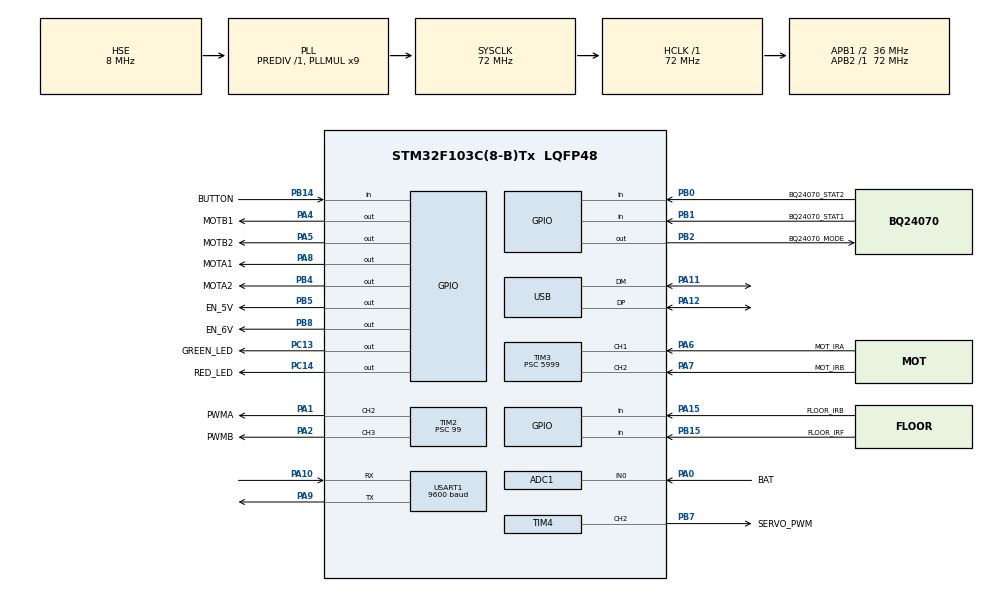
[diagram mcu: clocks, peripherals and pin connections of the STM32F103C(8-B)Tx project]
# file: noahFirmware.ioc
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Mcu.Family=STM32F1
NVIC.ADC1_2_IRQn=true\:5\:0\:false\:false\:true\:true\:true\:true
USB_DEVICE.CLASS_NAME_FS=CDC
NVIC.DMA1_Channel5_IRQn=true\:5\:0\:false\:false\:true\:true\:false\:true
ADC1.ContinuousConvMode=DISABLE
USART1.BaudRate=9600
PB14.GPIO_Label=BUTTON
PA11.Mode=Device
PA6.GPIO_Label=MOT_IRA
PB0.GPIO_Label=BQ24070_STAT2
NVIC.TIM1_UP_IRQn=true\:0\:0\:false\:false\:true\:false\:false\:true
TIM2.Channel-PWM\ Generation2\ CH2=TIM_CHANNEL_2
USB.lpm_enable=DISABLE
PB15.Signal=GPIO_Input
RCC.SYSCLKSource=RCC_SYSCLKSOURCE_PLLCLK
ProjectManager.StackSize=0x400
PD1-OSC_OUT.Signal=RCC_OSC_OUT
VP_TIM2_VS_ClockSourceITR.Mode=TriggerSource_ITR0
USB_DEVICE.MANUFACTURER_STRING=Noone
PA15.GPIO_Label=FLOOR_IRB
PA12.Signal=USB_DP
PB1.GPIO_PuPd=GPIO_PULLUP
RCC.HCLKFreq_Value=72000000
RCC.APB2TimFreq_Value=72000000
TIM3.Period=11999
PB5.PinState=GPIO_PIN_SET
RCC.AHBFreq_Value=72000000
Dma.USART1_RX.0.Priority=DMA_PRIORITY_LOW
TIM3.ClockDivision=TIM_CLOCKDIVISION_DIV1
TIM3.Channel-Input_Capture1_from_TI1=TIM_CHANNEL_1
PB2.Signal=GPIO_Output
RCC.PLLMUL=RCC_PLL_MUL9
PA14.Mode=Serial_Wire
VP_SYS_VS_tim1.Mode=TIM1
TIM3.Prescaler=5999
PB1.GPIO_Label=BQ24070_STAT1
NVIC.TIM2_IRQn=true\:5\:0\:false\:false\:true\:true\:true\:true
PB8.PinState=GPIO_PIN_SET
SH.S_TIM4_CH2.0=TIM4_CH2,PWM Generation2 CH2
PB7.Signal=S_TIM4_CH2
PA8.Signal=GPIO_Output
SH.ADCx_IN0.0=ADC1_IN0,IN0
SH.S_TIM3_CH1.0=TIM3_CH1,Input_Capture1_from_TI1
TIM4.Period=8000
VP_FREERTOS_VS_CMSIS_V1.Mode=CMSIS_V1
Dma.USART1_RX.0.MemInc=DMA_MINC_ENABLE
FREERTOS.configTOTAL_HEAP_SIZE=10240
PB7.GPIO_Label=SERVO_PWM
Mcu.Package=LQFP48
TIM2.Prescaler=99
PB14.GPIO_PuPd=GPIO_PULLDOWN
PB1.Signal=GPIO_Input
PA6.Signal=S_TIM3_CH1
NVIC.TimeBase=TIM1_UP_IRQn
PA2.GPIO_Label=PWMB
NVIC.TimeBaseIP=TIM1
PA10.Signal=USART1_RX
PA15.Signal=GPIO_Input
PB5.GPIO_Label=EN_5V
RCC.APB1TimFreq_Value=72000000
Dma.USART1_RX.0.Mode=DMA_CIRCULAR
PC14-OSC32_IN.GPIO_Label=RED_LED
Dma.Request0=USART1_RX
PA4.GPIO_Label=MOTB1
Dma.USART1_RX.0.Instance=DMA1_Channel5
VP_TIM3_VS_ClockSourceINT.Mode=Internal
PB4.Signal=GPIO_Output
RCC.PLLSourceVirtual=RCC_PLLSOURCE_HSE
TIM4.AutoReloadPreload=TIM_AUTORELOAD_PRELOAD_ENABLE
FREERTOS.Tasks01=StartTask,0,128,start_tsk,Default,NULL,Dynamic,NULL,NULL;PowerManagement,-1,400,PowerMgmt_tsk,Default,NULL,Dynamic,NULL,NULL;Button,0,256,Button_tsk,Default,NULL,Dynamic,NULL,NULL;Battery,-2,128,Battery_tsk,Default,NULL,Dynamic,NULL,NULL;MotionControl,0,256,Motion_tsk,Default,NULL,Dynamic,NULL,NULL;UARTComms,0,512,Uart_tsk,Default,NULL,Dynamic,NULL,NULL;IRFloor,0,128,Ir_floor_tsk,Default,NULL,Dynamic,NULL,NULL;MotionIR,0,256,MotionIR_tsk,Default,NULL,Dynamic,NULL,NULL
PD1-OSC_OUT.Mode=HSE-External-Oscillator
Dma.USART1_RX.0.PeriphDataAlignment=DMA_PDATAALIGN_BYTE
TIM3.Channel-Input_Capture2_from_TI2=TIM_CHANNEL_2
PA10.Mode=Asynchronous
TIM3.AutoReloadPreload=TIM_AUTORELOAD_PRELOAD_ENABLE
USB_DEVICE.VirtualModeFS=Cdc_FS
PB8.GPIO_PuPd=GPIO_PULLDOWN
PC13-TAMPER-RTC.Signal=GPIO_Output
RCC.USBPrescaler=RCC_USBCLKSOURCE_PLL_DIV1_5
PD0-OSC_IN.Signal=RCC_OSC_IN
RCC.APB1CLKDivider=RCC_HCLK_DIV2
PC14-OSC32_IN.Signal=GPIO_Output
PA0-WKUP.GPIO_Label=BAT
PA0-WKUP.Signal=ADCx_IN0
RCC.ADCPresc=RCC_ADCPCLK2_DIV6
PA13.Signal=SYS_JTMS-SWDIO
PB8.GPIO_Label=EN_6V
SH.S_TIM2_CH2.0=TIM2_CH2,PWM Generation2 CH2
PA9.Mode=Asynchronous
PA8.GPIO_Label=MOTA1
ProjectManager.TargetToolchain=Makefile
USB_DEVICE.PRODUCT_STRING_CDC_FS=Noah robot
Dma.USART1_RX.0.Direction=DMA_PERIPH_TO_MEMORY
VP_USB_DEVICE_VS_USB_DEVICE_CDC_FS.Mode=CDC_FS
PA9.Signal=USART1_TX
RCC.USBFreq_Value=48000000
TIM2.OCFastMode_PWM-PWM\ Generation3\ CH3=TIM_OCFAST_ENABLE
TIM4.Prescaler=999
PA1.Signal=S_TIM2_CH2
Dma.USART1_RX.0.PeriphInc=DMA_PINC_DISABLE
PD0-OSC_IN.Mode=HSE-External-Oscillator
PB14.Signal=GPIO_Input
PA5.Signal=GPIO_Output
SH.S_TIM3_CH2.0=TIM3_CH2,Input_Capture2_from_TI2
board=custom
PC13-TAMPER-RTC.GPIO_Label=GREEN_LED
USB.low_power_enable=DISABLE
NVIC.TIM3_IRQn=true\:5\:0\:false\:false\:true\:true\:true\:true
TIM4.Channel-PWM\ Generation2\ CH2=TIM_CHANNEL_2
RCC.APB2Freq_Value=72000000
PB4.GPIO_Label=MOTA2
TIM4.ClockDivision=TIM_CLOCKDIVISION_DIV4
PB15.GPIO_Label=FLOOR_IRF
VP_TIM2_VS_ClockSourceINT.Mode=Internal
SH.S_TIM2_CH3.0=TIM2_CH3,PWM Generation3 CH3
NVIC.USB_LP_CAN1_RX0_IRQn=true\:5\:0\:false\:false\:true\:true\:false\:true
PA1.GPIO_Label=PWMA
TIM2.Channel-PWM\ Generation3\ CH3=TIM_CHANNEL_3
TIM3.ICPolarity_CH1=TIM_INPUTCHANNELPOLARITY_FALLING
Dma.USART1_RX.0.MemDataAlignment=DMA_MDATAALIGN_BYTE
TIM2.Period=71
PA13.Mode=Serial_Wire
Mcu.Name=STM32F103C(8-B)Tx
PA2.Signal=S_TIM2_CH3
PA4.Signal=GPIO_Output
RCC.SYSCLKFreq_VALUE=72000000
PB5.Signal=GPIO_Output
PA7.GPIO_Label=MOT_IRB
ADC1.master=1
PA12.Mode=Device
PA5.GPIO_Label=MOTB2
PB5.GPIO_PuPd=GPIO_PULLDOWN
USART1.VirtualMode=VM_ASYNC
PA11.Signal=USB_DM
PA14.Signal=SYS_JTCK-SWCLK
PB2.GPIO_Label=BQ24070_MODE
ProjectManager.HeapSize=0x200
VP_TIM4_VS_ClockSourceINT.Mode=Internal
FREERTOS.Mutexes01=led_mutex,Dynamic,NULL
NVIC.PriorityGroup=NVIC_PRIORITYGROUP_4
ADC1.EnableRegularConversion=DISABLE
PB8.Signal=GPIO_Output
TIM2.OCFastMode_PWM-PWM\ Generation2\ CH2=TIM_OCFAST_ENABLE
TIM2.AutoReloadPreload=TIM_AUTORELOAD_PRELOAD_ENABLE
RCC.APB1Freq_Value=36000000
PB0.Signal=GPIO_Input
USB_DEVICE.VirtualMode=Cdc
PB0.GPIO_PuPd=GPIO_PULLUP
PA7.Signal=S_TIM3_CH2

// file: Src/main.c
/* USER CODE BEGIN Header */
/**
  ******************************************************************************
  * @file           : main.c
  * @brief          : Main program body
  ******************************************************************************
  * @attention
  *
  * <h2><center>&copy; Copyright (c) 2020 STMicroelectronics.
  * All rights reserved.</center></h2>
  *
  * This software component is licensed by ST under Ultimate Liberty license
  * SLA0044, the "License"; You may not use this file except in compliance with
  * the License. You may obtain a copy of the License at:
  *                             www.st.com/SLA0044
  *
  ******************************************************************************
  */
/* USER CODE END Header */

#include "main.h"
#include "cmsis_os.h"
#include "adc.h"
#include "dma.h"
#include "tim.h"
#include "usart.h"
#include "usb_device.h"
#include "gpio.h"

/* USER CODE BEGIN Includes */
#include "IRMotion.h"
/* USER CODE END Includes */

void SystemClock_Config(void);
void MX_FREERTOS_Init(void);

int main(void)
{

  /* MCU Configuration--------------------------------------------------------*/

  /* Reset of all peripherals, Initializes the Flash interface and the Systick. */
  HAL_Init();

  /* Configure the system clock */
  SystemClock_Config();

  /* Initialize all configured peripherals */
  MX_GPIO_Init();
  MX_ADC1_Init();
  MX_TIM2_Init();
  MX_TIM3_Init();
  MX_DMA_Init();
  MX_USART1_UART_Init();
  MX_TIM4_Init();

  /* Call init function for freertos objects (in freertos.c) */
  MX_FREERTOS_Init();
  /* Start scheduler */
  osKernelStart();

  /* We should never get here as control is now taken by the scheduler */
  /* Infinite loop */
  while (1)
  {

  }
}

void SystemClock_Config(void)
{
  RCC_OscInitTypeDef RCC_OscInitStruct = {0};
  RCC_ClkInitTypeDef RCC_ClkInitStruct = {0};
  RCC_PeriphCLKInitTypeDef PeriphClkInit = {0};

  /** Initializes the CPU, AHB and APB busses clocks
  */
  RCC_OscInitStruct.OscillatorType = RCC_OSCILLATORTYPE_HSE;
  RCC_OscInitStruct.HSEState = RCC_HSE_ON;
  RCC_OscInitStruct.HSEPredivValue = RCC_HSE_PREDIV_DIV1;
  RCC_OscInitStruct.HSIState = RCC_HSI_ON;
  RCC_OscInitStruct.PLL.PLLState = RCC_PLL_ON;
  RCC_OscInitStruct.PLL.PLLSource = RCC_PLLSOURCE_HSE;
  RCC_OscInitStruct.PLL.PLLMUL = RCC_PLL_MUL9;
  if (HAL_RCC_OscConfig(&RCC_OscInitStruct) != HAL_OK)
  {
    Error_Handler();
  }
  /** Initializes the CPU, AHB and APB busses clocks
  */
  RCC_ClkInitStruct.ClockType = RCC_CLOCKTYPE_HCLK|RCC_CLOCKTYPE_SYSCLK
                              |RCC_CLOCKTYPE_PCLK1|RCC_CLOCKTYPE_PCLK2;
  RCC_ClkInitStruct.SYSCLKSource = RCC_SYSCLKSOURCE_PLLCLK;
  RCC_ClkInitStruct.AHBCLKDivider = RCC_SYSCLK_DIV1;
  RCC_ClkInitStruct.APB1CLKDivider = RCC_HCLK_DIV2;
  RCC_ClkInitStruct.APB2CLKDivider = RCC_HCLK_DIV1;

  if (HAL_RCC_ClockConfig(&RCC_ClkInitStruct, FLASH_LATENCY_2) != HAL_OK)
  {
    Error_Handler();
  }
  PeriphClkInit.PeriphClockSelection = RCC_PERIPHCLK_ADC|RCC_PERIPHCLK_USB;
  PeriphClkInit.AdcClockSelection = RCC_ADCPCLK2_DIV6;
  PeriphClkInit.UsbClockSelection = RCC_USBCLKSOURCE_PLL_DIV1_5;
  if (HAL_RCCEx_PeriphCLKConfig(&PeriphClkInit) != HAL_OK)
  {
    Error_Handler();
  }
}

 /**
  * @brief  Period elapsed callback in non blocking mode
  * @note   This function is called  when TIM1 interrupt took place, inside
  * HAL_TIM_IRQHandler(). It makes a direct call to HAL_IncTick() to increment
  * a global variable "uwTick" used as application time base.
  * @param  htim : TIM handle
  * @retval None
  */
void HAL_TIM_PeriodElapsedCallback(TIM_HandleTypeDef *htim)
{
  if (htim->Instance == TIM1) {
    HAL_IncTick();
  }
}

void Error_Handler(void)
{
}

/************************ (C) COPYRIGHT STMicroelectronics *****END OF FILE****/

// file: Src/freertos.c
/* USER CODE BEGIN Header */
/**
 ******************************************************************************
 * File Name          : freertos.c
 * Description        : Code for freertos applications
 ******************************************************************************
 * @attention
 *
 * <h2><center>&copy; Copyright (c) 2019 STMicroelectronics.
 * All rights reserved.</center></h2>
 *
 * This software component is licensed by ST under Ultimate Liberty license
 * SLA0044, the "License"; You may not use this file except in compliance with
 * the License. You may obtain a copy of the License at:
 *                             www.st.com/SLA0044
 *
 ******************************************************************************
 */
/* USER CODE END Header */

#include "FreeRTOS.h"
#include "task.h"
#include "main.h"
#include "cmsis_os.h"

/* USER CODE BEGIN Includes */

// Standard libraries
#include "math.h"
#include "stdbool.h"

// CMSIS Libraries
#include "usart.h"
// Noone libraries
#include "Battery.h"
#include "Button.h"
#include "Config.h"
#include "IRFloor.h"
#include "IRMotion.h"
#include "Motor.h"
#include "PowerManagement.h"
#include "Servo.h"
#include "UsartCommunication.h"

/* USER CODE END Includes */

/* USER CODE BEGIN Variables */
float      motorKP, motorKI, motorKD;
float      targetSpeedL = 0.0, targetSpeedR;
float      currentSpeedL = 0.0, currentSpeedR = 0.0;
float      integrationSumL = 0.0, integrationSumR = 0.0;
float      previousErrorL = 0.0, previousErrorR = 0.0;
float      current_error_l;
float      derivative;
int16_t    duty_l, duty_r;
osThreadId thread_id;
/* USER CODE END Variables */
osThreadId StartTaskHandle;
osThreadId PowerManagementHandle;
osThreadId ButtonHandle;
osThreadId BatteryHandle;
osThreadId MotionControlHandle;
osThreadId UARTCommsHandle;
osThreadId IRFloorHandle;
osThreadId MotionIRHandle;
osMutexId led_mutexHandle;

void start_tsk(void const * argument);
void PowerMgmt_tsk(void const * argument);
void Button_tsk(void const * argument);
void Battery_tsk(void const * argument);
void Motion_tsk(void const * argument);
void Uart_tsk(void const * argument);
void Ir_floor_tsk(void const * argument);
void MotionIR_tsk(void const * argument);

extern void MX_USB_DEVICE_Init(void);
void MX_FREERTOS_Init(void); /* (MISRA C 2004 rule 8.1) */

/* GetIdleTaskMemory prototype (linked to static allocation support) */
void vApplicationGetIdleTaskMemory( StaticTask_t **ppxIdleTaskTCBBuffer, StackType_t **ppxIdleTaskStackBuffer, uint32_t *pulIdleTaskStackSize );

/* USER CODE BEGIN GET_IDLE_TASK_MEMORY */
static StaticTask_t xIdleTaskTCBBuffer;
static StackType_t  xIdleStack[configMINIMAL_STACK_SIZE];

void vApplicationGetIdleTaskMemory(StaticTask_t **ppxIdleTaskTCBBuffer, StackType_t **ppxIdleTaskStackBuffer,
                                   uint32_t *pulIdleTaskStackSize) {
    *ppxIdleTaskTCBBuffer = &xIdleTaskTCBBuffer;
    *ppxIdleTaskStackBuffer = &xIdleStack[0];
    *pulIdleTaskStackSize = configMINIMAL_STACK_SIZE;
    /* place for user code */
}
/* USER CODE END GET_IDLE_TASK_MEMORY */

void MX_FREERTOS_Init(void) {
  /* Create the mutex(es) */
  /* definition and creation of led_mutex */
  osMutexDef(led_mutex);
  led_mutexHandle = osMutexCreate(osMutex(led_mutex));

  /* Create the thread(s) */
  /* definition and creation of StartTask */
  osThreadDef(StartTask, start_tsk, osPriorityNormal, 0, 128);
  StartTaskHandle = osThreadCreate(osThread(StartTask), NULL);

  /* definition and creation of PowerManagement */
  osThreadDef(PowerManagement, PowerMgmt_tsk, osPriorityBelowNormal, 0, 400);
  PowerManagementHandle = osThreadCreate(osThread(PowerManagement), NULL);

  /* definition and creation of Button */
  osThreadDef(Button, Button_tsk, osPriorityNormal, 0, 256);
  ButtonHandle = osThreadCreate(osThread(Button), NULL);

  /* definition and creation of Battery */
  osThreadDef(Battery, Battery_tsk, osPriorityLow, 0, 128);
  BatteryHandle = osThreadCreate(osThread(Battery), NULL);

  /* definition and creation of MotionControl */
  osThreadDef(MotionControl, Motion_tsk, osPriorityNormal, 0, 256);
  MotionControlHandle = osThreadCreate(osThread(MotionControl), NULL);

  /* definition and creation of UARTComms */
  osThreadDef(UARTComms, Uart_tsk, osPriorityNormal, 0, 512);
  UARTCommsHandle = osThreadCreate(osThread(UARTComms), NULL);

  /* definition and creation of IRFloor */
  osThreadDef(IRFloor, Ir_floor_tsk, osPriorityNormal, 0, 128);
  IRFloorHandle = osThreadCreate(osThread(IRFloor), NULL);

  /* definition and creation of MotionIR */
  osThreadDef(MotionIR, MotionIR_tsk, osPriorityNormal, 0, 256);
  MotionIRHandle = osThreadCreate(osThread(MotionIR), NULL);

}

void start_tsk(void const * argument)
{
  /* init code for USB_DEVICE */
  MX_USB_DEVICE_Init();
    for (;;) {
        osDelay(1);
    }
}

void PowerMgmt_tsk(void const * argument)
{
  /* USER CODE BEGIN PowerMgmt_tsk */
    // bool pwrChanged = false;
    // pwr_init();
    osSignalSet(UARTCommsHandle, POWER_MGMT_SIGNAL_READY);
    /* Infinite loop */
    for (;;) {
        // If changes were alerted before but still were not be able to show that with the leds,
        // Check if there is a power update but do not change the flag.
        // if (pwrChanged) {
        //     pwr_update();
        //     // Try to consume the mutex.
        //     if (osMutexWait(led_mutexHandle, LED_MUTEX_WAIT_TIME_MS) == osOK) {
        //         switch (pwr_get_current_state()) {
        //             case CHARGING_USB:
        //                 HAL_GPIO_WritePin(RED_LED_GPIO_Port, RED_LED_PIN, GPIO_PIN_SET);
        //                 HAL_GPIO_WritePin(GREEN_LED_GPIO_Port, GREEN_LED_PIN, GPIO_PIN_RESET);
        //                 break;
        //             case CHARGING_HIGH_PWR:
        //                 HAL_GPIO_WritePin(RED_LED_GPIO_Port, RED_LED_PIN, GPIO_PIN_SET);
        //                 HAL_GPIO_WritePin(GREEN_LED_GPIO_Port, GREEN_LED_PIN, GPIO_PIN_SET);
        //                 break;
        //             default:
        //                 HAL_GPIO_WritePin(RED_LED_GPIO_Port, RED_LED_PIN, GPIO_PIN_RESET);
        //                 HAL_GPIO_WritePin(GREEN_LED_GPIO_Port, GREEN_LED_PIN, GPIO_PIN_RESET);
        //                 break;
        //         }
        //         // Change the flag, allowing to know that the leds were updated accordingly to the status..
        //         pwrChanged = false;
        //         // Free the mutex.
        //         osMutexRelease(led_mutexHandle);
        //     }
        // } else {
        //     pwrChanged = pwr_update();
        // }
        osDelay(POWER_MGMT_UPDATE_RATE_MS);
    }
  /* USER CODE END PowerMgmt_tsk */
}

void Button_tsk(void const * argument)
{
  /* USER CODE BEGIN Button_tsk */
    osSignalSet(UARTCommsHandle, BUTTON_SIGNAL_READY);
    /* Infinite loop */
    for (;;) {
        // button_update();
        osDelay(BUTTON_UPDATE_RATE_MS);
    }
  /* USER CODE END Button_tsk */
}

void Battery_tsk(void const * argument)
{
  /* USER CODE BEGIN Battery_tsk */
    bat_init();
    osSignalSet(UARTCommsHandle, BATTERY_SIGNAL_READY);
    /* Infinite loop */
    for (;;) {
        bat_update();
        osDelay(BAT_CHECKING_UPDATE_RATE_MS);
    }
  /* USER CODE END Battery_tsk */
}

void Motion_tsk(void const * argument)
{
  /* USER CODE BEGIN Motion_tsk */
    motorKP = KP_VAL;
    motorKI = KI_VAL;
    motorKD = KD_VAL;
    motor_init(&htim2, TIM_CHANNEL_2, TIM_CHANNEL_3);
    osSignalSet(UARTCommsHandle, MOTION_CONTROL_SIGNAL_READY);
    osSignalWait(IR_SENSOR_SIGNAL_READY, osWaitForever);
    /* Infinite loop */
    for (;;) {
        osDelay(PID_UPDATE_RATE_MS);
        // Get the current speed of each motor.
        currentSpeedL = irmotion_get_speed(MOTOR_L);
        currentSpeedR = irmotion_get_speed(MOTOR_R);

        // Implementación PID for motor L.
        current_error_l = targetSpeedL - currentSpeedL;
        // We divide by 1000 to convert miliseconds in seconds.
        integrationSumL += (current_error_l * (PID_UPDATE_RATE_MS / 1000.0));
        derivative = (current_error_l - previousErrorL) / (PID_UPDATE_RATE_MS / 1000.0);
        duty_l = (int16_t)((motorKP * current_error_l) + (motorKI * integrationSumL) + (motorKD * derivative));
        previousErrorL = current_error_l;
        if (targetSpeedL > 0.0) {
            if (duty_l > MAX_DUTY_PWM)
                duty_l = MAX_DUTY_PWM;
            else if (duty_l < 0)
                duty_l = 0;
        } else {
            if (duty_l < (-MAX_DUTY_PWM))
                duty_l = -MAX_DUTY_PWM;
            else if (duty_l > 0)
                duty_l = 0;
        }

        motor_set_duty(MOTOR_L, duty_l);

        // Implementación PID for motor R.
        // float currentError_r = targetSpeedR - currentSpeedR;
        // // We divide by 1000 to convert miliseconds in seconds.
        // integrationSumR += currentError_r * (PID_UPDATE_RATE_MS / 1000.0);
        // duty_r = (int16_t)(motorKP * currentError_r + motorKI * integrationSumR +
        //                 motorKD * (currentError_r - previousErrorR) / (PID_UPDATE_RATE_MS / 1000.0));
        // previousErrorR = currentError_r;
        // if (duty_r > MAX_DUTY_PWM) duty_r = MAX_DUTY_PWM;
        // // duty_l = duty_l * (MAX_DUTY_PWM/32767);
        // if(duty_l > 0){
        //   if (duty_l > MAX_DUTY_PWM) duty_l = MAX_DUTY_PWM;
        // }
        // else{
        //   if (abs(duty_l) > MAX_DUTY_PWM) duty_l = -MAX_DUTY_PWM;
        // }
        // motor_set_duty(MOTOR_R, duty_r);
    }
  /* USER CODE END Motion_tsk */
}

void Uart_tsk(void const * argument)
{
  /* USER CODE BEGIN Uart_tsk */
    // Wait for all the signals in order to start UART communications
    osSignalWait(BUTTON_SIGNAL_READY, osWaitForever);
    osSignalWait(BATTERY_SIGNAL_READY, osWaitForever);
    osSignalWait(MOTION_CONTROL_SIGNAL_READY, osWaitForever);
    // osSignalWait(START_TASK_SIGNAL_READY, osWaitForever);
    // osSignalWait(SERVO_SIGNAL_READY, osWaitForever);
    // osSignalWait(POWER_MGMT_SIGNAL_READY, osWaitForever);
    usartComms_init(&huart1);

    /* Infinite loop */
    for (;;) {
        usartComms_update();
        osDelay(UART_COMMS_UPDATE_RATE);
    }
  /* USER CODE END Uart_tsk */
}

void Ir_floor_tsk(void const * argument)
{
  /* USER CODE BEGIN Ir_floor_tsk */
    bool ir_front_detecting = true;
    bool ir_back_detecting = true;
    /* Infinite loop */
    for (;;) {
        if (irfloor_is_back_detecting() != ir_front_detecting) {
            ir_back_detecting = irfloor_is_back_detecting();
            irfloor_advertise_Change(BACK_IR, ir_back_detecting);
        }
        if (irfloor_is_front_detecting() != ir_front_detecting) {
            ir_front_detecting = irfloor_is_front_detecting();
            irfloor_advertise_Change(FRONT_IR, ir_front_detecting);
        }
        osDelay(FLOOR_IR_UPDATE_RATE);
    }
  /* USER CODE END Ir_floor_tsk */
}

void MotionIR_tsk(void const * argument)
{
  /* USER CODE BEGIN MotionIR_tsk */
    irmotion_init(&htim3);
    osSignalSet(MotionControlHandle, IR_SENSOR_SIGNAL_READY);
    irmotion_start();
    /* Infinite loop */
    for (;;) {
        osDelay(100);
        irmotion_update();
        irmotion_reset();
    }
  /* USER CODE END MotionIR_tsk */
}

/************************ (C) COPYRIGHT STMicroelectronics *****END OF FILE****/
